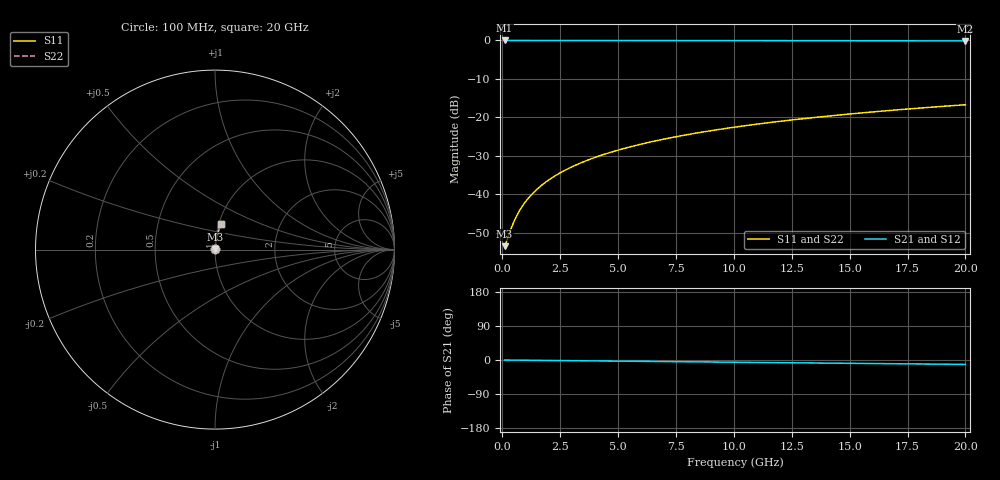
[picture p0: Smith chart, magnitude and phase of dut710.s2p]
! Touchstone file exported from HFSS 2026.1.0
!  File:  C:/ffzhzh/LocalFiles/Ansys_Project_Files/temp_train_BSMRDL_710_1783168166_18472.aedt
!  Generated:  08:30:40 PM Jul  4, 2026
!  Design:  BSMRDL
!  Project:  temp_train_BSMRDL_710_1783168166_18472
! Variables:
!  h_bsmrdl = 2.18um
!  h_ox = 20um
!  h_rdl = 5um
!  h_sub = 80um
!  h_tmrdl = 5um
!  h_tsv = 80um
!  h_via = 3um
!  l_bsmrdl = 115.81um
!  l_sub = 515.81um
!  l_tmrdl = 200um
!  m_sub = 200um
!  pitch = 36.6um
!  r_tsv = 6um
!  s_tmrdl = 10um
!  w_bsmrdl = 11.28um
!  w_sub = 500um
!  w_tmrdl = 12um
!  x_tsv_center1 = 206um
!  x_tsv_center2 = 333.09um
!  x_tsv_center3 = 545.09um
!  x_tsv_center4 = 672.18um
!  x_tsv_center5 = 884.18um
!  x_tsv_center6 = 1011.27um
# GHz S MA R 50.000000
! Terminal data exported
! Port[1] = BSM_RDL1_1_T1
! Port[2] = BSM_RDL1_1_T2
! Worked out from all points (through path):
!   200 points, 100 MHz to 20 GHz, reference 50 ohm
!   highest |S21| = -0.02 dB at 100 MHz (marker M1); lowest = -0.1 dB at 20 GHz (marker M2)
!   group delay of S21, straight-line fit = 1.61 ps
!   lowest |S11| = -53.5 dB at 100 MHz (marker M3), VSWR 1.00, Z = 50.2 + j0.0786 ohm
!   |S11| at or under -10 dB: start of sweep to end of sweep
!   |S22| runs from -53.5 to -16.7 dB; largest |S21 - S12| = 1.9e-15
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0.1  0.002116 21.7  0.998 -0.1  0.998 -0.1  0.002116 21.7
! Gamma 0 0 0 0
! Port Impedance 50 0 50 0
0.2  0.002522 38.3  0.998 -0.1  0.998 -0.1  0.002522 38.3
0.4  0.003715 57.0  0.998 -0.2  0.998 -0.2  0.003715 57.0
0.5  0.004393 62.1  0.998 -0.3  0.998 -0.3  0.004393 62.1
0.7  0.005807 68.6  0.9979 -0.4  0.9979 -0.4  0.005807 68.6
0.8  0.006527 70.7  0.9979 -0.5  0.9979 -0.5  0.006527 70.7
1  0.007978 73.7  0.9978 -0.6  0.9978 -0.6  0.007978 73.7
1.3  0.01017 76.7  0.9977 -0.8  0.9977 -0.8  0.01017 76.7
1.7  0.0131 79.0  0.9976 -1.0  0.9976 -1.0  0.0131 79.0
2.2  0.01677 80.7  0.9975 -1.3  0.9975 -1.3  0.01677 80.7
2.8  0.0212 81.9  0.9974 -1.7  0.9974 -1.7  0.0212 81.9
3.5  0.02638 82.7  0.9972 -2.1  0.9972 -2.1  0.02638 82.7
4.2  0.03156 83.0  0.997 -2.5  0.997 -2.5  0.03156 83.0
5  0.03749 83.2  0.9968 -2.9  0.9968 -2.9  0.03749 83.2
5.9  0.04415 83.1  0.9964 -3.5  0.9964 -3.5  0.04415 83.1
6.8  0.0508 82.9  0.996 -4.0  0.996 -4.0  0.0508 82.9
8.3  0.06184 82.5  0.9952 -4.9  0.9952 -4.9  0.06184 82.5
10.1  0.07502 81.7  0.9941 -5.9  0.9941 -5.9  0.07502 81.7
11.7  0.08667 81.0  0.993 -6.9  0.993 -6.9  0.08667 81.0
13.4  0.09896 80.2  0.9916 -7.8  0.9916 -7.8  0.09896 80.2
16.7  0.1225 78.4  0.9886 -9.7  0.9886 -9.7  0.1225 78.4
20  0.1458 76.7  0.985 -11.6  0.985 -11.6  0.1458 76.7
